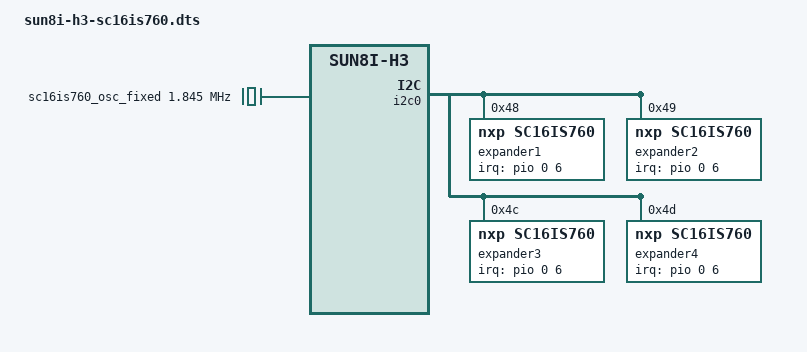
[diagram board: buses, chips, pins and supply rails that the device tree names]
/dts-v1/ /plugin/;

#include <dt-bindings/interrupt-controller/irq.h>

/ {
	compatible = "allwinner,sun8i-h3";

	fragment@0 {
		target-path = "/aliases";
		__overlay__ {
			i2c0 = "/soc/i2c@01c2ac00";
		};
	};

	fragment@1 {
		target = <&pio>;
		__overlay__ {
			sc16is_pin_irq: sc16is_pin_irq {
				pins = "PA6"; 				/* PA6 Connected to Cactus Pot EXPANDER-INT */
				function = "irq";
				bias-pull-up;
			};
		};
	};

	fragment@2 {
		target-path = "/clocks";
		__overlay__ {
			#address-cells = <1>;
			#size-cells = <1>;
			sc16is760_osc_fixed: sc16is760_osc_fixed {
				compatible = "fixed-clock";
				#clock-cells = <0>;
				clock-frequency  = <1845000>;
			};
		};
	};

	fragment@3 {
		target = <&i2c0>;
		__overlay__ {

			#address-cells = <1>;
			#size-cells = <0>;
			status = "okay";

			expander1: sc16is760@48 {
				compatible = "nxp,sc16is760";
				reg = <0x48>;
				interrupt-parent = <&pio>;
				interrupts = <0 6 IRQ_TYPE_EDGE_FALLING>; /* PA6 Connected to Cactus Pot CAN-INT */
				clocks = <&sc16is760_osc_fixed>;
				gpio-controller;
				#gpio-cells = <2>;
				status = "okay";
				
			};

			expander2: sc16is760@49 {
				compatible = "nxp,sc16is760";
				reg = <0x49>;
				interrupt-parent = <&pio>;
				interrupts = <0 6 IRQ_TYPE_EDGE_FALLING>; /* PA6 Connected to Cactus Pot CAN-INT */
				clocks = <&sc16is760_osc_fixed>;
				gpio-controller;
				#gpio-cells = <2>;
				status = "okay";
			};

			expander3: sc16is760@4c {
				compatible = "nxp,sc16is760";
				reg = <0x4c>;
				interrupt-parent = <&pio>;
				interrupts = <0 6 IRQ_TYPE_EDGE_FALLING>; /* PA6 Connected to Cactus Pot CAN-INT */
				clocks = <&sc16is760_osc_fixed>;
				gpio-controller;
				#gpio-cells = <2>;
				status = "okay";
			};

			expander4: sc16is760@4d {
				compatible = "nxp,sc16is760";
				reg = <0x4d>;
				interrupt-parent = <&pio>;
				interrupts = <0 6 IRQ_TYPE_EDGE_FALLING>; /* PA6 Connected to Cactus Pot CAN-INT */
				clocks = <&sc16is760_osc_fixed>;
				gpio-controller;
				#gpio-cells = <2>;
				status = "okay";
			};
			
		};
	};
};
